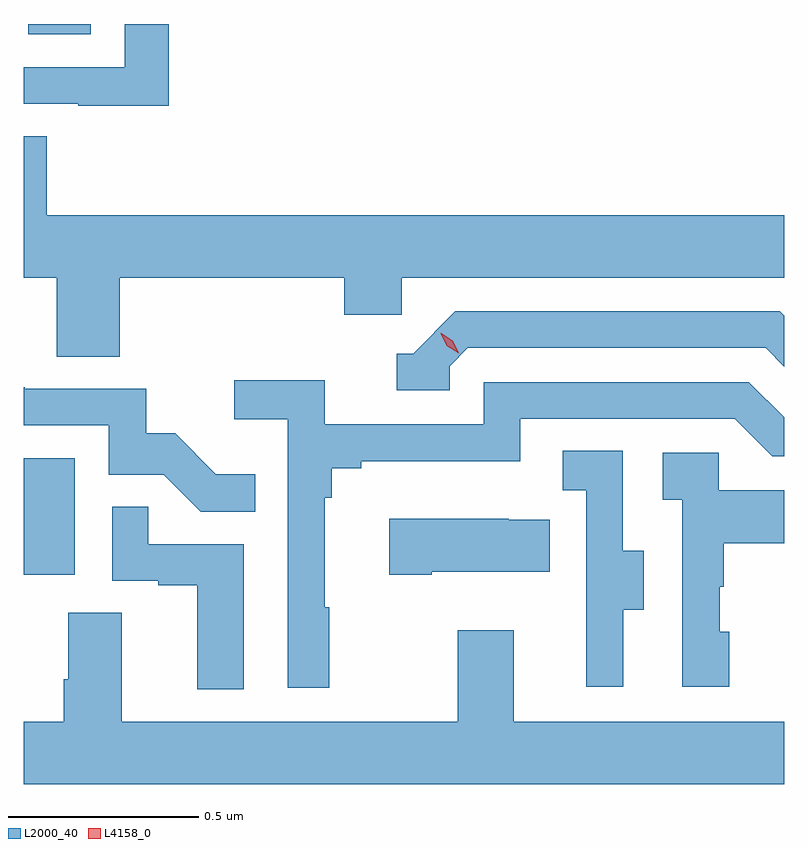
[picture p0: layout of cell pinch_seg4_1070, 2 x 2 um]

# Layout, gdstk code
import gdstk
lib = gdstk.Library(unit=1e-6, precision=1e-09)
def R(c, l, rs):  # rectangles x0, y0, x1, y1
    for r in rs: c.add(gdstk.rectangle(r[:2], r[2:], *l))
def P(c, l, *ps):  # polygons
    for p in ps: c.add(gdstk.Polygon(p, *l))
L2000_40 = (2000, 40)
L4158_0 = (4158, 0)

pinch_seg4_1070 = lib.new_cell('pinch_seg4_1070')
R(pinch_seg4_1070, L2000_40, [(818.252,761.406,818.386,761.713), (818.264,762.828,818.428,762.855)])
P(pinch_seg4_1070, L2000_40, [(818.633,762.855),(818.517,762.855),(818.517,762.741),(818.252,762.741),(818.252,762.645),(818.395,762.645),(818.395,762.64),(818.633,762.64)],
  [(818.504,762.188),(819.095,762.188),(819.095,762.09),(819.246,762.09),(819.246,762.188),(820.252,762.188),(820.252,762.352),(818.312,762.352),(818.312,762.56),(818.252,762.56),(818.252,762.188),(818.339,762.188),(818.339,761.98),(818.504,761.98)],
  [(819.372,761.955),(819.42,762.003),(820.203,762.003),(820.252,761.954),(820.252,762.087),(820.24,762.099),(819.387,762.099),(819.276,761.988),(819.233,761.988),(819.233,761.892),(819.372,761.892)],
  [(819.055,761.321),(819.043,761.321),(819.043,761.609),(819.062,761.609),(819.062,761.686),(819.139,761.686),(819.139,761.705),(819.558,761.705),(819.558,761.817),(820.122,761.817),(820.221,761.718),(820.252,761.718),(820.252,761.82),(820.159,761.913),(819.462,761.913),(819.462,761.802),(819.044,761.802),(819.044,761.918),(818.805,761.918),(818.805,761.816),(818.946,761.816),(818.946,761.109),(819.055,761.109)],
  [(818.861,761.671),(818.757,761.671),(818.65,761.778),(818.574,761.778),(818.574,761.895),(818.255,761.895),(818.255,761.9),(818.252,761.9),(818.252,761.799),(818.475,761.799),(818.475,761.67),(818.62,761.67),(818.718,761.572),(818.861,761.572)],
  [(819.829,761.314),(819.883,761.314),(819.883,761.469),(819.828,761.469),(819.828,761.732),(819.669,761.732),(819.669,761.629),(819.732,761.629),(819.732,761.325),(819.731,761.325),(819.731,761.112),(819.829,761.112)],
  [(820.108,761.256),(820.083,761.256),(820.083,761.375),(820.093,761.375),(820.093,761.489),(820.252,761.489),(820.252,761.629),(820.08,761.629),(820.08,761.727),(819.933,761.727),(819.933,761.603),(819.984,761.603),(819.984,761.112),(820.108,761.112)],
  [(818.83,761.487),(818.579,761.487),(818.579,761.585),(818.484,761.585),(818.484,761.391),(818.605,761.391),(818.605,761.379),(818.708,761.379),(818.708,761.105),(818.83,761.105)],
  [(819.325,761.414),(819.635,761.414),(819.635,761.551),(819.527,761.551),(819.527,761.554),(819.213,761.554),(819.213,761.407),(819.325,761.407)],
  [(820.252,761.02),(819.541,761.02),(819.541,761.26),(819.394,761.26),(819.394,761.02),(818.509,761.02),(818.509,761.306),(818.369,761.306),(818.369,761.132),(818.357,761.132),(818.357,761.02),(818.252,761.02),(818.252,760.856),(820.252,760.856)])
P(pinch_seg4_1070, L4158_0, [(819.396,761.989),(819.365,762.009),(819.349,762.042),(819.349,762.042),(819.35,762.042),(819.38,762.022),(819.396,761.989),(819.396,761.989)])

lib.write_gds('pinch_seg4_1070.gds')
